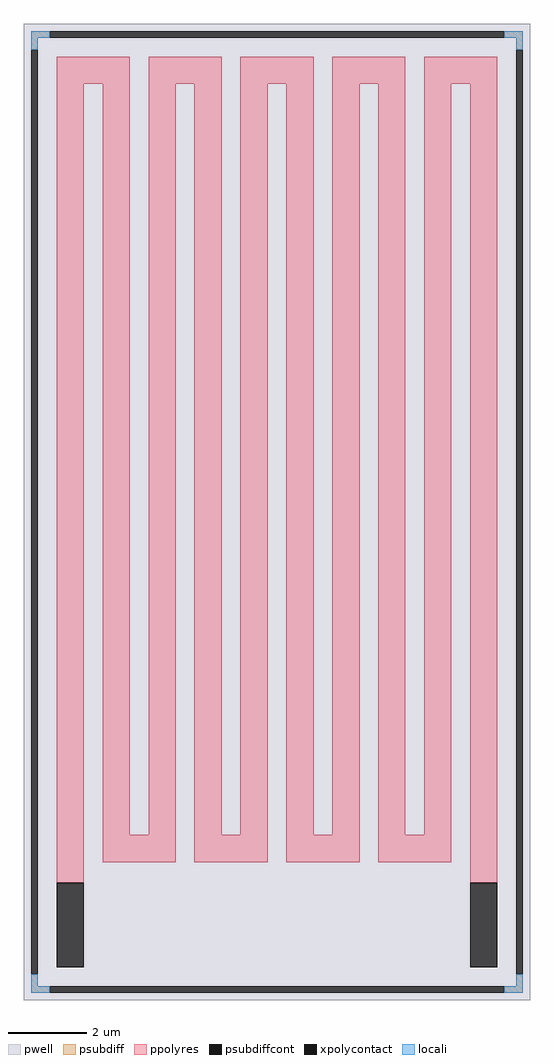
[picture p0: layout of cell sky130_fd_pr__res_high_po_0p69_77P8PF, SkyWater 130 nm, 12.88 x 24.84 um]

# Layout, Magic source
magic
tech sky130A
<< pwell >>
rect -644 -1242 644 1242
<< psubdiff >>
rect -626 1207 -578 1224
rect 578 1207 626 1224
rect -626 1176 -609 1207
rect 609 1176 626 1207
rect -626 -1207 -609 -1176
rect 609 -1207 626 -1176
rect -626 -1224 -578 -1207
rect 578 -1224 626 -1207
<< psubdiffcont >>
rect -578 1207 578 1224
rect -626 -1176 -609 1176
rect 609 -1176 626 1176
rect -578 -1224 578 -1207
<< xpolycontact >>
rect -561 -1159 -492 -943
rect 492 -1159 561 -943
<< ppolyres >>
rect -561 1090 -375 1159
rect -561 -943 -492 1090
rect -444 -822 -375 1090
rect -327 1090 -141 1159
rect -327 -822 -258 1090
rect -444 -891 -258 -822
rect -210 -822 -141 1090
rect -93 1090 93 1159
rect -93 -822 -24 1090
rect -210 -891 -24 -822
rect 24 -822 93 1090
rect 141 1090 327 1159
rect 141 -822 210 1090
rect 24 -891 210 -822
rect 258 -822 327 1090
rect 375 1090 561 1159
rect 375 -822 444 1090
rect 258 -891 444 -822
rect 492 -943 561 1090
<< locali >>
rect -626 1207 -578 1224
rect 578 1207 626 1224
rect -626 1176 -609 1207
rect 609 1176 626 1207
rect -626 -1207 -609 -1176
rect 609 -1207 626 -1176
rect -626 -1224 -578 -1207
rect 578 -1224 626 -1207
<< properties >>
string FIXED_BBOX -617 -1215 617 1215
string gencell sky130_fd_pr__res_high_po_0p69
string library sky130
string parameters w 0.69 l 20.5 m 1 nx 10 wmin 0.690 lmin 0.50 rho 319.8 val 98.455k dummy 0 dw 0.0 term 194.82 sterm 0.0 caplen 0 guard 1 glc 1 grc 1 gtc 1 gbc 1 compatible {sky130_fd_pr__res_high_po_0p35  sky130_fd_pr__res_high_po_0p69 sky130_fd_pr__res_high_po_1p41  sky130_fd_pr__res_high_po_2p85 sky130_fd_pr__res_high_po_5p73} snake 1 full_metal 1 wmax 0.690 n_guard 0 hv_guard 0 vias 1 viagb 0 viagt 0 viagl 0 viagr 0
<< end >>
